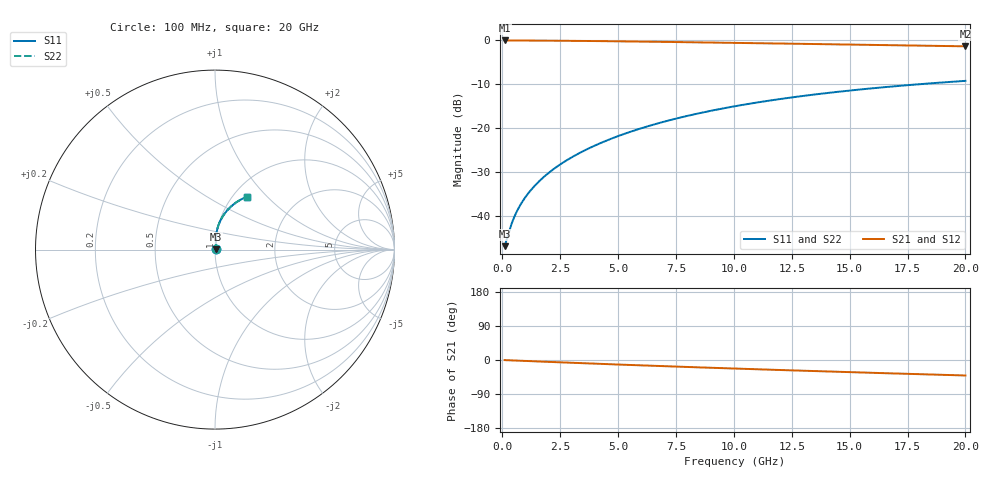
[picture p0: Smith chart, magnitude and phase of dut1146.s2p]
! Touchstone file exported from HFSS 2024.1.0
!  File:  C:/UserFiles/LocalFiles/RDL_TSV_Batchsim/temp_RDL_bottom_1146_1780055840.aedt
!  Generated:  08:00:01 PM May 29, 2026
!  Design:  RDL_bottom
!  Project:  temp_RDL_bottom_1146_1780055840
!  Setup:  Setup1
!  Solution:  Sweep
! Variables:
!  dtsv = 10.80580581um
!  hbump = 3um
!  htsv = 82.31um
!  ldown = 572.41um
!  lrdl = 100um
!  p = 40
!  p1 = 51.82um
!  rhole = 1um
!  t = 450um
!  tdown = 2.02um
!  trdl = 3.915915916um
!  wdown = 26.71um
!  wrdl = 20um
# GHz S MA R 50.000000
! Terminal data exported
! Port[1] = RDL1_T1
! Port[2] = RDL1_T2
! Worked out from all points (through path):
!   200 points, 100 MHz to 20 GHz, reference 50 ohm
!   highest |S21| = -0.04 dB at 100 MHz (marker M1); lowest = -1.4 dB at 20 GHz (marker M2)
!   group delay of S21, straight-line fit = 5.62 ps
!   lowest |S11| = -46.9 dB at 100 MHz (marker M3), VSWR 1.01, Z = 50.4 + j0.175 ohm
!   |S11| at or under -10 dB: start of sweep to 18.04 GHz
!   |S22| runs from -46.9 to -9.2 dB; largest |S21 - S12| = 3.1e-15
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0.1  0.004503 22.7  0.9958 -0.3  0.9958 -0.3  0.004503 22.7
! Gamma 0 0 0 0
! Port Impedance 50 0 50 0
0.3  0.006737 48.9  0.9955 -0.8  0.9955 -0.8  0.006737 48.9
0.4  0.008086 55.3  0.9952 -1.0  0.9952 -1.0  0.008086 55.3
0.6  0.01083 63.1  0.9947 -1.5  0.9947 -1.5  0.01083 63.1
0.7  0.0122 65.7  0.9944 -1.8  0.9944 -1.8  0.0122 65.7
0.9  0.01495 69.8  0.9939 -2.3  0.9939 -2.3  0.01495 69.8
1.2  0.01912 74.0  0.9931 -3.0  0.9931 -3.0  0.01912 74.0
1.4  0.02197 76.1  0.9926 -3.5  0.9926 -3.5  0.02197 76.1
1.7  0.02632 78.5  0.9916 -4.2  0.9916 -4.2  0.02632 78.5
2.2  0.03382 81.2  0.9898 -5.4  0.9898 -5.4  0.03382 81.2
2.8  0.0432 83.3  0.9871 -6.9  0.9871 -6.9  0.04321 83.3
3.5  0.05466 84.6  0.9835 -8.5  0.9835 -8.5  0.05467 84.6
4.2  0.06664 85.1  0.9793 -10.1  0.9793 -10.1  0.06665 85.2
5  0.08089 85.2  0.974 -12.0  0.974 -12.0  0.08091 85.2
5.9  0.09751 84.6  0.9675 -14.0  0.9675 -14.0  0.09754 84.6
6.8  0.1146 83.6  0.9607 -15.9  0.9607 -15.9  0.1146 83.7
8.4  0.1455 81.2  0.9481 -19.3  0.9481 -19.3  0.1455 81.2
10.1  0.1783 78.1  0.9344 -22.7  0.9344 -22.7  0.1784 78.1
11.7  0.2086 74.9  0.9214 -25.8  0.9214 -25.8  0.2086 74.9
13.4  0.2396 71.5  0.9074 -29.1  0.9074 -29.1  0.2397 71.5
16.7  0.2954 64.9  0.8804 -35.1  0.8804 -35.1  0.2956 64.9
20  0.3449 58.7  0.8538 -40.8  0.8538 -40.8  0.3451 58.7
